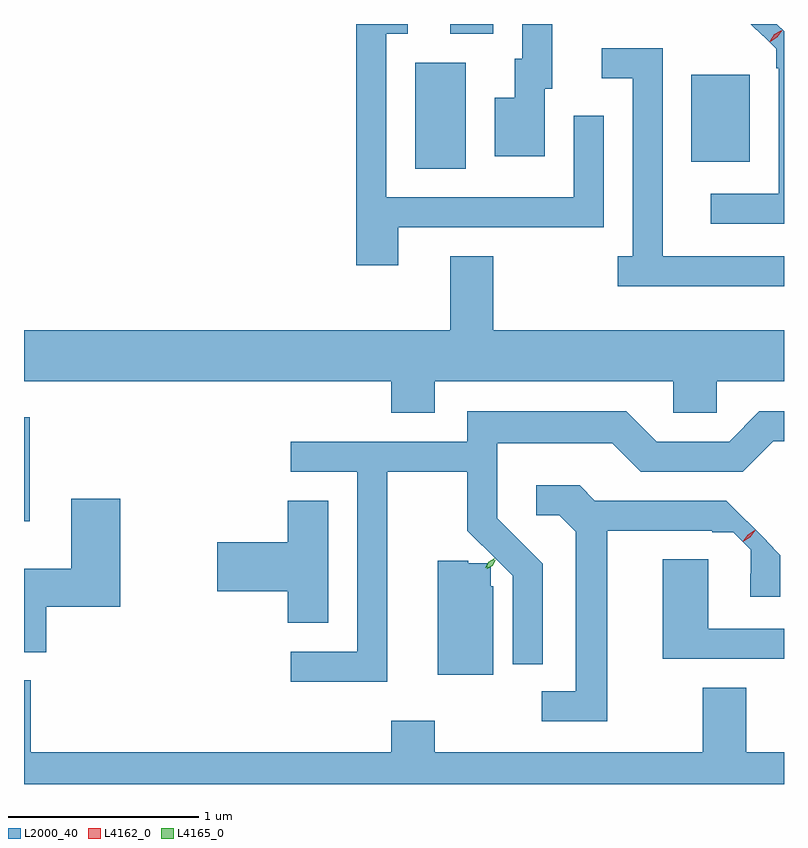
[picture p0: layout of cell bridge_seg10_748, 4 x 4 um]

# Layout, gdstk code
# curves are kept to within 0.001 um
import gdstk
lib = gdstk.Library(unit=1e-6, precision=1e-09)
def R(c, l, rs):  # rectangles x0, y0, x1, y1
    for r in rs: c.add(gdstk.rectangle(r[:2], r[2:], *l))
def P(c, l, *ps):  # polygons
    for p in ps: c.add(gdstk.Polygon(p, *l))
L2000_40 = (2000, 40)
L4162_0 = (4162, 0)
L4165_0 = (4165, 0)

bridge_seg10_748 = lib.new_cell('bridge_seg10_748')
R(bridge_seg10_748, L2000_40, [(603.518,2153.141,603.549,2153.688), (605.576,2154.996,605.844,2155.554), (607.031,2155.031,607.339,2155.489), (605.761,2155.706,605.989,2155.757)])
P(bridge_seg10_748, L2000_40, [(607.395,2154.707),(607.518,2154.707),(607.518,2155.718),(607.479,2155.757),(607.342,2155.757),(607.405,2155.695),(607.407,2155.697),(607.478,2155.627),(607.478,2155.523),(607.491,2155.523),(607.491,2154.864),(607.133,2154.864),(607.133,2154.706)],
  [(606.259,2155.416),(606.299,2155.416),(606.299,2155.757),(606.141,2155.757),(606.141,2155.574),(606.101,2155.574),(606.101,2155.369),(605.996,2155.369),(605.996,2155.061),(606.259,2155.061)],
  [(605.489,2154.686),(606.569,2154.686),(606.569,2155.273),(606.411,2155.273),(606.411,2154.844),(605.424,2154.844),(605.424,2155.706),(605.538,2155.706),(605.538,2155.757),(605.266,2155.757),(605.266,2154.486),(605.489,2154.486)],
  [(607.518,2154.534),(606.879,2154.534),(606.879,2155.629),(606.558,2155.629),(606.558,2155.471),(606.721,2155.471),(606.721,2154.534),(606.643,2154.534),(606.643,2154.376),(607.518,2154.376)],
  [(605.679,2153.876),(606.936,2153.876),(606.936,2153.711),(607.164,2153.711),(607.164,2153.876),(607.518,2153.876),(607.518,2154.144),(605.989,2154.144),(605.989,2154.534),(605.761,2154.534),(605.761,2154.144),(603.518,2154.144),(603.518,2153.876),(605.451,2153.876),(605.451,2153.711),(605.679,2153.711)],
  [(605.429,2153.401),(605.851,2153.401),(605.851,2153.089),(605.926,2153.014),(605.928,2153.016),(606.091,2152.853),(606.091,2152.388),(606.249,2152.388),(606.249,2152.917),(606.009,2153.157),(606.009,2153.551),(606.614,2153.551),(606.764,2153.401),(607.302,2153.401),(607.462,2153.561),(607.518,2153.561),(607.518,2153.719),(607.389,2153.719),(607.229,2153.559),(606.847,2153.559),(606.687,2153.719),(605.851,2153.719),(605.851,2153.559),(604.923,2153.559),(604.923,2153.401),(605.271,2153.401),(605.271,2152.454),(604.923,2152.454),(604.923,2152.296),(605.429,2152.296)],
  [(606.589,2153.091),(607.14,2153.091),(607.14,2153.083),(607.25,2153.083),(607.342,2152.991),(607.341,2152.743),(607.499,2152.743),(607.499,2152.962),(607.213,2153.249),(606.522,2153.249),(606.442,2153.329),(606.213,2153.329),(606.213,2153.171),(606.334,2153.171),(606.421,2153.084),(606.421,2152.244),(606.243,2152.244),(606.243,2152.086),(606.589,2152.086)],
  [(603.634,2152.691),(604.024,2152.691),(604.024,2153.259),(603.766,2153.259),(603.766,2152.889),(603.518,2152.889),(603.518,2152.451),(603.634,2152.451)],
  [(605.119,2153.249),(604.906,2153.249),(604.906,2153.029),(604.536,2153.029),(604.536,2152.771),(604.906,2152.771),(604.906,2152.606),(605.119,2152.606)],
  [(607.518,2152.574),(607.119,2152.574),(607.119,2152.939),(606.881,2152.939),(606.881,2152.416),(607.518,2152.416)],
  [(605.989,2152.697),(605.988,2152.697),(605.988,2152.797),(605.975,2152.797),(605.975,2152.897),(605.955,2152.897),(605.955,2152.918),(605.855,2152.918),(605.855,2152.931),(605.696,2152.931),(605.696,2152.333),(605.989,2152.333)],
  [(607.518,2151.924),(607.319,2151.924),(607.319,2152.264),(607.091,2152.264),(607.091,2151.924),(605.679,2151.924),(605.679,2152.089),(605.451,2152.089),(605.451,2151.924),(603.554,2151.924),(603.554,2152.303),(603.518,2152.303),(603.518,2151.757),(607.518,2151.757)])
P(bridge_seg10_748, L4162_0, [(607.442,2155.662),(607.442,2155.663),(607.468,2155.7),(607.508,2155.724),(607.509,2155.724),(607.509,2155.723),(607.482,2155.686),(607.442,2155.662)],
  [(607.304,2153.035),(607.304,2153.036),(607.326,2153.07),(607.361,2153.09),(607.362,2153.09),(607.362,2153.089),(607.34,2153.055),(607.305,2153.035)],
  [(607.3,2153.031),(607.3,2153.032),(607.326,2153.07),(607.366,2153.094),(607.366,2153.094),(607.366,2153.093),(607.34,2153.055),(607.3,2153.031)],
  [(607.445,2155.668),(607.445,2155.668),(607.467,2155.702),(607.502,2155.722),(607.503,2155.722),(607.503,2155.721),(607.481,2155.687),(607.446,2155.668)])
P(bridge_seg10_748, L4165_0, [(605.946,2152.894),(605.946,2152.895),(605.964,2152.927),(605.995,2152.946),(605.996,2152.946),(605.996,2152.945),(605.978,2152.913),(605.947,2152.894)],
  [(605.954,2152.89),(605.954,2152.891),(605.971,2152.921),(606,2152.937),(606.001,2152.937),(606.001,2152.936),(605.985,2152.907),(605.955,2152.89)])

lib.write_gds('bridge_seg10_748.gds')
